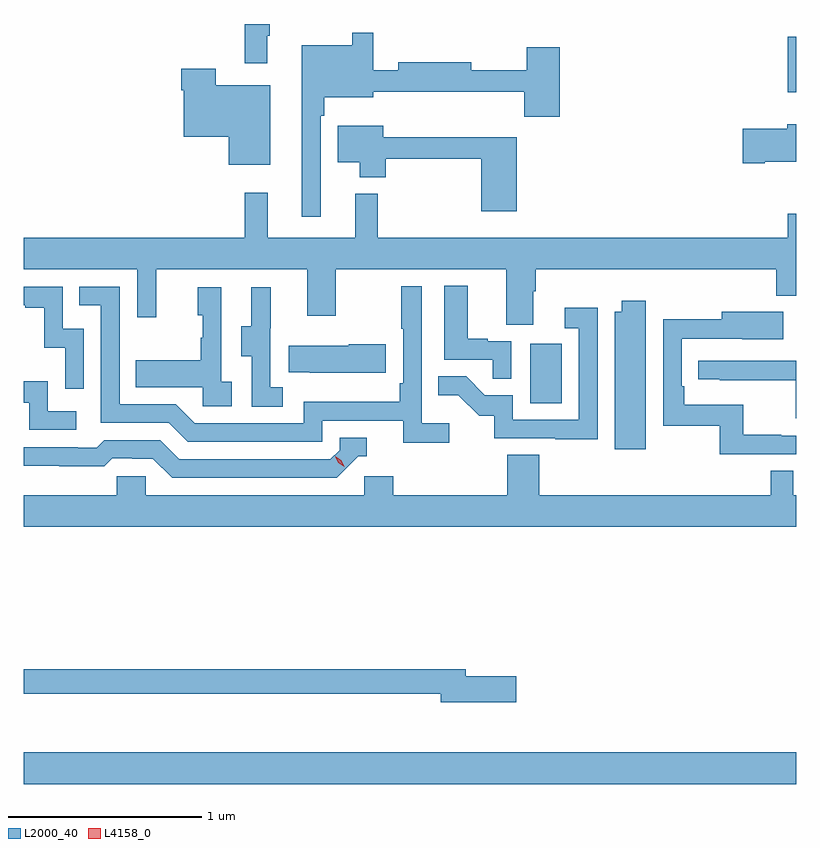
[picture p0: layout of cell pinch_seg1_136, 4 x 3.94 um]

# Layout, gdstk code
import gdstk
lib = gdstk.Library(unit=1e-6, precision=1e-09)
def R(c, l, rs):  # rectangles x0, y0, x1, y1
    for r in rs: c.add(gdstk.rectangle(r[:2], r[2:], *l))
def P(c, l, *ps):  # polygons
    for p in ps: c.add(gdstk.Polygon(p, *l))
L2000_40 = (2000, 40)
L4158_0 = (4158, 0)

pinch_seg1_136 = lib.new_cell('pinch_seg1_136')
R(pinch_seg1_136, L2000_40, [(1031.426,547.736,1035.426,547.9), (1034.048,549.708,1034.212,550.015), (1035.382,551.318,1035.426,551.605)])
P(pinch_seg1_136, L2000_40, [(1032.688,551.609),(1032.7,551.609),(1032.7,551.671),(1032.571,551.671),(1032.571,551.469),(1032.688,551.469)],
  [(1032.963,551.195),(1032.983,551.195),(1032.983,551.291),(1033.237,551.291),(1033.237,551.32),(1034.018,551.32),(1034.018,551.19),(1034.201,551.19),(1034.201,551.551),(1034.03,551.551),(1034.03,551.431),(1033.744,551.431),(1033.744,551.473),(1033.364,551.473),(1033.364,551.431),(1033.236,551.431),(1033.236,551.626),(1033.128,551.626),(1033.128,551.56),(1032.866,551.56),(1032.866,550.674),(1032.963,550.674)],
  [(1032.703,551.353),(1032.42,551.353),(1032.42,551.44),(1032.242,551.44),(1032.242,551.327),(1032.254,551.327),(1032.254,551.087),(1032.488,551.087),(1032.488,550.943),(1032.703,550.943)],
  [(1035.262,550.958),(1035.426,550.958),(1035.426,551.152),(1035.38,551.152),(1035.38,551.129),(1035.15,551.129),(1035.15,550.951),(1035.262,550.951)],
  [(1033.978,551.085),(1033.288,551.085),(1033.288,551.143),(1033.052,551.143),(1033.052,550.955),(1033.166,550.955),(1033.166,550.877),(1033.301,550.877),(1033.301,550.974),(1033.796,550.974),(1033.796,550.701),(1033.978,550.701)],
  [(1034.065,550.288),(1034.078,550.288),(1034.078,550.4),(1035.323,550.4),(1035.323,550.265),(1035.426,550.265),(1035.426,550.688),(1035.382,550.688),(1035.382,550.564),(1033.259,550.564),(1033.259,550.792),(1033.142,550.792),(1033.142,550.564),(1032.689,550.564),(1032.689,550.798),(1032.571,550.798),(1032.571,550.564),(1031.426,550.564),(1031.426,550.4),(1032.015,550.4),(1032.015,550.152),(1032.113,550.152),(1032.113,550.4),(1032.893,550.4),(1032.893,550.161),(1033.041,550.161),(1033.041,550.4),(1033.925,550.4),(1033.925,550.114),(1034.065,550.114)],
  [(1033.95,550.029),(1033.829,550.029),(1033.829,550.042),(1033.726,550.042),(1033.726,550.315),(1033.604,550.315),(1033.604,549.933),(1033.855,549.933),(1033.855,549.835),(1033.95,549.835)],
  [(1033.63,549.604),(1033.488,549.604),(1033.488,550.312),(1033.38,550.312),(1033.38,550.093),(1033.392,550.093),(1033.392,549.811),(1033.372,549.811),(1033.372,549.715),(1032.876,549.715),(1032.876,549.603),(1032.312,549.603),(1032.213,549.702),(1031.922,549.702),(1031.922,550.311),(1031.713,550.311),(1031.713,550.215),(1031.826,550.215),(1031.826,549.606),(1032.176,549.606),(1032.275,549.507),(1032.972,549.507),(1032.972,549.618),(1033.391,549.618),(1033.391,549.502),(1033.63,549.502)],
  [(1031.736,550.092),(1031.628,550.092),(1031.628,550.311),(1031.426,550.311),(1031.426,550.215),(1031.435,550.215),(1031.435,550.203),(1031.531,550.203),(1031.531,549.995),(1031.64,549.995),(1031.64,549.783),(1031.736,549.783)],
  [(1032.766,549.791),(1032.702,549.791),(1032.702,550.095),(1032.704,550.095),(1032.704,550.309),(1032.605,550.309),(1032.605,550.107),(1032.551,550.107),(1032.551,549.952),(1032.606,549.952),(1032.606,549.688),(1032.766,549.688)],
  [(1032.502,549.818),(1032.45,549.818),(1032.45,550.309),(1032.326,550.309),(1032.326,550.164),(1032.352,550.164),(1032.352,550.046),(1032.342,550.046),(1032.342,549.931),(1032.007,549.931),(1032.007,549.791),(1032.354,549.791),(1032.354,549.693),(1032.502,549.693)],
  [(1034.647,550.237),(1034.522,550.237),(1034.522,550.18),(1034.486,550.18),(1034.486,549.468),(1034.647,549.468)],
  [(1034.397,550.201),(1034.228,550.201),(1034.228,550.095),(1034.301,550.095),(1034.301,549.621),(1033.959,549.621),(1033.959,549.75),(1033.814,549.75),(1033.716,549.848),(1033.573,549.848),(1033.573,549.749),(1033.677,549.749),(1033.784,549.642),(1033.861,549.642),(1033.861,549.525),(1034.179,549.525),(1034.179,549.52),(1034.397,549.52)],
  [(1035.426,549.54),(1035.347,549.54),(1035.347,549.545),(1035.151,549.545),(1035.151,549.7),(1034.846,549.7),(1034.846,549.796),(1034.832,549.796),(1034.832,550.041),(1035.145,550.041),(1035.145,550.04),(1035.359,550.04),(1035.359,550.18),(1035.041,550.18),(1035.041,550.142),(1034.736,550.142),(1034.736,549.591),(1035.03,549.591),(1035.03,549.444),(1035.426,549.444)],
  [(1033.3,550.014),(1033.109,550.014),(1033.109,550.006),(1032.799,550.006),(1032.799,549.869),(1032.907,549.869),(1032.907,549.866),(1033.3,549.866)],
  [(1035.426,549.927),(1034.919,549.927),(1034.919,549.831),(1035.031,549.831),(1035.031,549.826),(1035.424,549.826),(1035.424,549.63),(1035.426,549.63)],
  [(1031.698,549.666),(1031.55,549.666),(1031.55,549.82),(1031.426,549.82),(1031.426,549.711),(1031.454,549.711),(1031.454,549.57),(1031.698,549.57)],
  [(1033.158,549.432),(1033.201,549.432),(1033.201,549.528),(1033.062,549.528),(1033.062,549.465),(1033.014,549.417),(1032.231,549.417),(1032.132,549.516),(1031.843,549.516),(1031.804,549.477),(1031.705,549.477),(1031.705,549.48),(1031.426,549.48),(1031.426,549.383),(1031.61,549.383),(1031.61,549.381),(1031.843,549.381),(1031.885,549.423),(1031.988,549.423),(1031.988,549.42),(1032.095,549.42),(1032.194,549.321),(1033.047,549.321)],
  [(1035.426,549.232),(1035.411,549.232),(1035.411,549.359),(1035.295,549.359),(1035.295,549.232),(1034.096,549.232),(1034.096,549.44),(1033.93,549.44),(1033.93,549.232),(1033.34,549.232),(1033.34,549.33),(1033.188,549.33),(1033.188,549.232),(1032.057,549.232),(1032.057,549.33),(1031.907,549.33),(1031.907,549.232),(1031.426,549.232),(1031.426,549.068),(1035.426,549.068)],
  [(1033.975,548.294),(1033.714,548.294),(1033.714,548.33),(1031.426,548.33),(1031.426,548.202),(1033.586,548.202),(1033.586,548.159),(1033.975,548.159)])
P(pinch_seg1_136, L4158_0, [(1033.085,549.379),(1033.054,549.399),(1033.039,549.432),(1033.039,549.432),(1033.039,549.432),(1033.07,549.412),(1033.085,549.379),(1033.085,549.379)])

lib.write_gds('pinch_seg1_136.gds')
